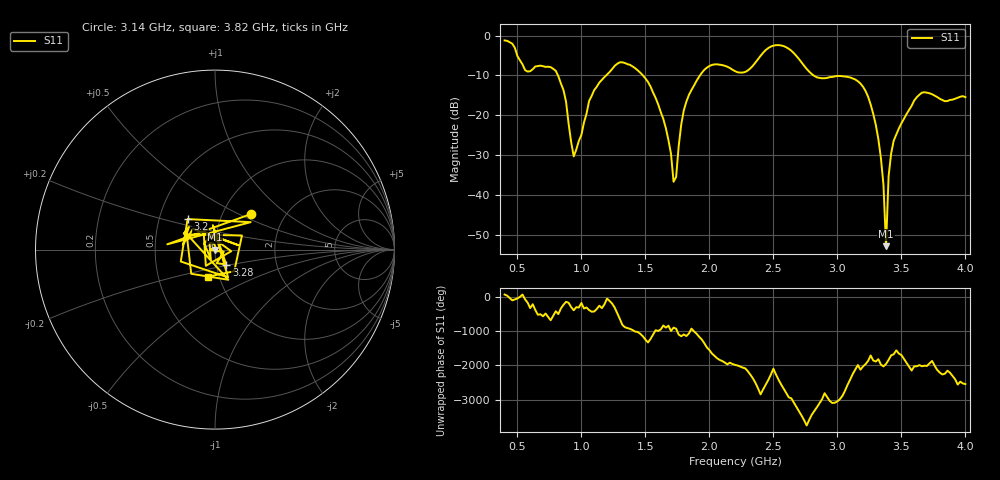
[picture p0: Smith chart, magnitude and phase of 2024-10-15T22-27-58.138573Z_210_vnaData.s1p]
! Created with skrf (http://scikit-rf.org).
# Hz S RI R 50.0
!freq ReS11 ImS11
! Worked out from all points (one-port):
!   181 points, 400 MHz to 4 GHz, reference 50 ohm
!   lowest |S11| = -52.8 dB at 3.38 GHz (marker M1), VSWR 1.00, Z = 49.8 - j0.0995 ohm
!   |S11| at or under -10 dB: 816.9 MHz to 1.193 GHz (376.2 MHz wide, 37.4 % of centre); 1.481 GHz to 1.926 GHz (445.1 MHz wide, 26.1 % of centre); 2.815 GHz to end of sweep
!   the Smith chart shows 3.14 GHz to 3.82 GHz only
!   S11 on the Smith chart (normalised r, x): 3.14 GHz: 1.36, +0.58; 3.2 GHz: 0.70, +0.25; 3.28 GHz: 1.12, -0.19; 3.82 GHz: 0.89, -0.27
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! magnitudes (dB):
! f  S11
! 400 MHz  -1.2
! 860 MHz  -13.7
! 940 MHz  -30.3
! 1.1 GHz  -13.7
! 1.3 GHz  -6.7
! 1.54 GHz  -12.8
! 1.66 GHz  -23.2
! 1.72 GHz  -36.7
! 1.76 GHz  -27.8
! 1.82 GHz  -16.6
! 1.94 GHz  -9.4
! 2.2 GHz  -8.9
! 2.5 GHz  -2.5
! 2.66 GHz  -4.4
! 2.84 GHz  -10.5
! 3.1 GHz  -10.5
! 3.14 GHz  -11.0
! 3.2 GHz  -12.8
! 3.28 GHz  -19.6
! 3.34 GHz  -30.7
! 3.36 GHz  -37.4
! 3.38 GHz  -52.8
! 3.4 GHz  -35.3
! 3.42 GHz  -29.5
! 3.56 GHz  -18.7
! 3.66 GHz  -14.3
! 3.82 GHz  -16.2
! 4 GHz  -15.4
